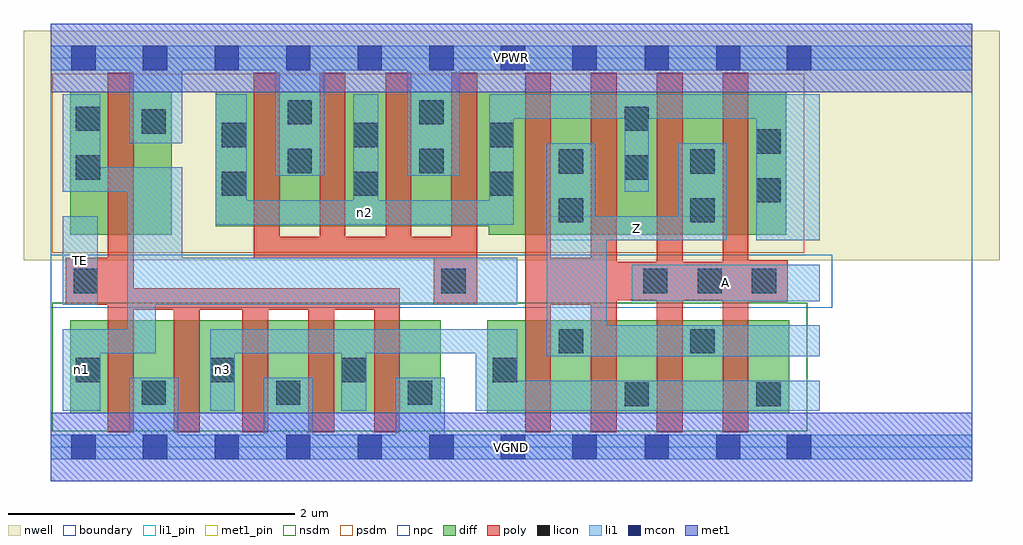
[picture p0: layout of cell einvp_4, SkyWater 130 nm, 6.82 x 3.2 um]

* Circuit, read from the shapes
.subckt einvp_4 A TE VGND VPWR Z n1 n2 n3
XM1 VGND TE n1 VSUBS sky130_fd_pr__nfet_01v8 w=0.65 l=0.18
XM2 n3 TE VGND VSUBS sky130_fd_pr__nfet_01v8 w=0.65 l=0.18 m=4
XM3 Z A n3 VSUBS sky130_fd_pr__nfet_01v8 w=0.65 l=0.18 m=4
XM4 VPWR TE n1 n4 sky130_fd_pr__pfet_01v8 w=1 l=0.18
XM5 VPWR n1 n2 n4 sky130_fd_pr__pfet_01v8 w=0.94 l=0.18 m=4
XM6 Z A n2 n4 sky130_fd_pr__pfet_01v8 w=1 l=0.18 m=4
.ends

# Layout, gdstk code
import gdstk
lib = gdstk.Library(unit=1e-6, precision=1e-09)
def R(c, l, rs):  # rectangles x0, y0, x1, y1
    for r in rs: c.add(gdstk.rectangle(r[:2], r[2:], *l))
def A(c, l, x, y, w, h, nx, ny, dx, dy):  # array of equal rectangles
    R(c, l, [(x+i*dx, y+j*dy, x+i*dx+w, y+j*dy+h) for i in range(nx) for j in range(ny)])
nwell = (64, 20)
diff = (65, 20)
poly = (66, 20)
licon = (66, 44)
li1_pin = (67, 16)
li1 = (67, 20)
mcon = (67, 44)
met1_pin = (68, 16)
met1 = (68, 20)
nsdm = (93, 44)
psdm = (94, 20)
npc = (95, 20)
boundary = (235, 4)

einvp_4 = lib.new_cell('einvp_4')
R(einvp_4, nwell, [(-0.19,1.305,6.63,2.91), (0,1.305,6.44,2.91)])
R(einvp_4, diff, [(0.135,0.235,2.725,0.885), (3.05,0.235,5.16,0.885), (0.135,1.485,0.845,2.485), (3.06,1.485,5.14,2.485), (1.155,1.545,5.14,2.485)])
A(einvp_4, poly, 1.34, 0.105, 0.18, 1.005, 3, 1, 0.46, 0)
A(einvp_4, poly, 3.315, 0.105, 0.18, 2.51, 4, 1, 0.46, 0)
A(einvp_4, poly, 1.42, 1.32, 0.18, 1.295, 3, 1, 0.46, 0)
R(einvp_4, poly, [(0.4,0.105,0.58,2.615), (0.86,0.105,1.04,1.11), (0.4,0.96,2.44,1.11), (0.105,0.995,0.58,1.325), (2.675,0.995,2.98,1.47), (2.8,0.995,2.98,2.615), (3.315,0.995,3.955,1.325), (4.695,1.015,5.15,1.305), (3.315,1.025,5.15,1.295), (1.42,1.32,2.98,1.47)])
A(einvp_4, licon, 4.14, 1.075, 0.17, 0.17, 3, 1, 0.38, 0)
R(einvp_4, licon, [(4.01,0.285,4.18,0.455), (4.93,0.285,5.1,0.455), (0.635,0.295,0.805,0.465), (1.575,0.295,1.745,0.465), (2.495,0.295,2.665,0.465), (0.175,0.455,0.345,0.625), (1.115,0.455,1.285,0.625), (2.035,0.455,2.205,0.625), (3.09,0.455,3.26,0.625), (3.55,0.655,3.72,0.825), (4.47,0.655,4.64,0.825), (0.16,1.075,0.33,1.245), (2.73,1.075,2.9,1.245), (3.55,1.57,3.72,1.74), (4.47,1.57,4.64,1.74), (4.93,1.71,5.1,1.88), (1.195,1.755,1.365,1.925), (2.115,1.755,2.285,1.925), (3.065,1.755,3.235,1.925), (0.175,1.87,0.345,2.04), (4.01,1.87,4.18,2.04), (3.55,1.91,3.72,2.08), (4.47,1.91,4.64,2.08), (1.655,1.915,1.825,2.085), (2.575,1.915,2.745,2.085), (4.93,2.05,5.1,2.22), (1.195,2.095,1.365,2.265), (2.115,2.095,2.285,2.265), (3.065,2.095,3.235,2.265), (0.635,2.19,0.805,2.36), (0.175,2.21,0.345,2.38), (4.01,2.21,4.18,2.38), (1.655,2.255,1.825,2.425), (2.575,2.255,2.745,2.425)])
R(einvp_4, li1_pin, [(0.085,0.995,0.33,1.615), (4.06,1.02,5.375,1.275), (3.465,1.445,4.725,1.615)])
R(einvp_4, li1, [(0,-0.085,6.44,0.085), (0.55,-0.085,0.89,0.485), (1.49,-0.085,1.83,0.485), (2.41,-0.085,2.755,0.485), (0.085,0.255,0.345,0.825), (1.115,0.255,1.285,0.825), (2.03,0.255,2.205,0.825), (2.97,0.255,5.375,0.465), (2.97,0.255,3.26,0.825), (3.465,0.635,3.805,2.125), (3.465,0.635,5.375,0.85), (3.465,0.635,3.885,1.615), (0.085,0.655,0.735,0.825), (0.535,0.655,0.735,1.955), (1.115,0.655,3.26,0.825), (0.085,0.995,0.33,1.615), (0.535,0.995,3.26,1.325), (0.535,0.995,0.92,1.955), (4.06,1.02,5.375,1.275), (3.465,1.445,4.725,1.615), (4.385,1.445,4.725,2.125), (4.93,1.445,5.375,2.465), (1.155,1.555,3.235,1.725), (1.155,1.555,1.37,2.465), (2.115,1.555,2.29,2.465), (3.065,1.555,3.235,2.465), (0.085,1.785,0.345,2.465), (0.085,1.785,0.92,1.955), (4.01,1.785,4.18,2.465), (1.57,1.895,1.91,2.805), (2.49,1.895,2.86,2.805), (0.55,2.125,0.92,2.805), (3.065,2.295,5.375,2.465), (0,2.635,6.44,2.805)])
A(einvp_4, mcon, 0.145, -0.085, 0.17, 0.17, 8, 2, 0.5, 2.72)
R(einvp_4, mcon, [(4.15,-0.085,4.32,0.085), (4.65,-0.085,4.82,0.085), (5.145,-0.085,5.315,0.085), (4.15,2.635,4.32,2.805), (4.65,2.635,4.82,2.805), (5.145,2.635,5.315,2.805)])
R(einvp_4, met1_pin, [(0,-0.24,6.44,0.24), (0,2.48,6.44,2.96)])
R(einvp_4, met1, [(0,-0.24,6.44,0.24), (0,2.48,6.44,2.96)])
R(einvp_4, nsdm, [(0.01,0.11,5.285,1.01)])
R(einvp_4, psdm, [(0.01,1.36,5.265,2.61)])
R(einvp_4, npc, [(0,0.975,5.46,1.345)])
R(einvp_4, boundary, [(0,0,6.44,2.72)])
einvp_4.add(gdstk.Label('A', (4.717,1.147), layer=67, texttype=5))
einvp_4.add(gdstk.Label('TE', (0.207,1.305), layer=67, texttype=5))
einvp_4.add(gdstk.Label('Z', (4.095,1.53), layer=67, texttype=5))
einvp_4.add(gdstk.Label('n3', (1.2,0.54), layer=67, texttype=5))
einvp_4.add(gdstk.Label('n1', (0.215,0.54), layer=67, texttype=5))
einvp_4.add(gdstk.Label('n2', (2.195,1.64), layer=67, texttype=5))
einvp_4.add(gdstk.Label('VPWR', (3.22,2.72), layer=68, texttype=5))
einvp_4.add(gdstk.Label('VGND', (3.22,0), layer=68, texttype=5))
einvp_4.add(gdstk.Label('A', (4.717,1.147), layer=67, texttype=16))
einvp_4.add(gdstk.Label('TE', (0.207,1.305), layer=67, texttype=16))
einvp_4.add(gdstk.Label('Z', (4.095,1.53), layer=67, texttype=16))
einvp_4.add(gdstk.Label('VPWR', (3.22,2.72), layer=68, texttype=16))
einvp_4.add(gdstk.Label('VGND', (3.22,0), layer=68, texttype=16))

lib.write_gds('einvp_4.gds')
